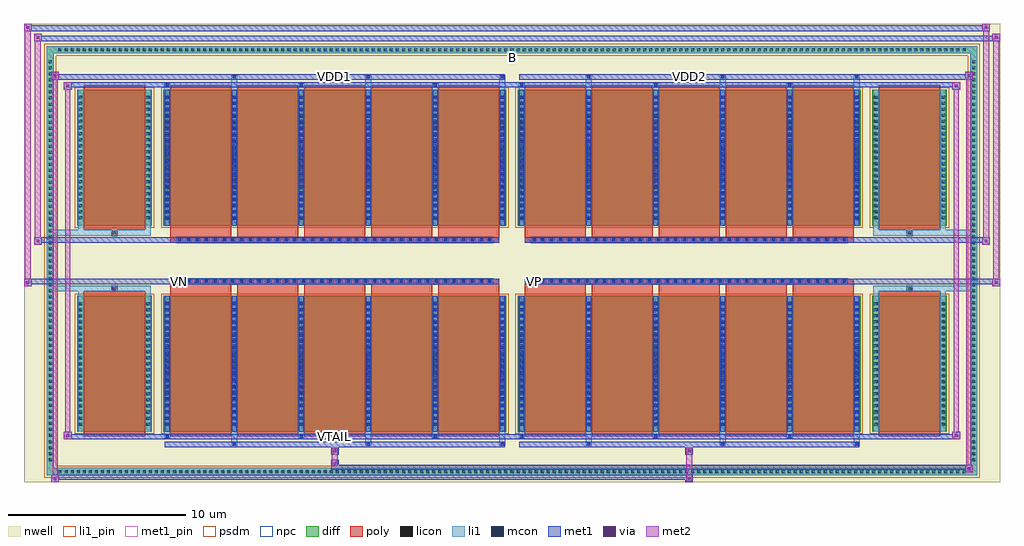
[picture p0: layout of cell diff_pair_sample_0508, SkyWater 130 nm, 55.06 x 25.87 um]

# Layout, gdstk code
import gdstk
lib = gdstk.Library(unit=1e-6, precision=5e-09)
def R(c, l, rs):  # rectangles x0, y0, x1, y1
    for r in rs: c.add(gdstk.rectangle(r[:2], r[2:], *l))
def A(c, l, x, y, w, h, nx, ny, dx, dy):  # array of equal rectangles
    R(c, l, [(x+i*dx, y+j*dy, x+i*dx+w, y+j*dy+h) for i in range(nx) for j in range(ny)])
def P(c, l, *ps):  # polygons
    for p in ps: c.add(gdstk.Polygon(p, *l))
nwell = (64, 20)
diff = (65, 20)
poly = (66, 20)
licon = (66, 44)
li1_pin = (67, 16)
li1 = (67, 20)
mcon = (67, 44)
met1_pin = (68, 16)
met1 = (68, 20)
via = (68, 44)
met2 = (69, 20)
psdm = (94, 20)
npc = (95, 20)

diff_pair_sample_0508 = lib.new_cell('diff_pair_sample_0508')
R(diff_pair_sample_0508, nwell, [(-27.53,-12.5,27.53,13.37), (-24.85,-10.69,-0.01,-0.805), (0.01,-10.69,24.85,-0.805), (-24.85,0.805,-0.01,10.69), (0.01,0.805,24.85,10.69)])
A(diff_pair_sample_0508, diff, -25.705, -12.1, 0.41, 0.41, 151, 2, 0.34, 23.79)
A(diff_pair_sample_0508, diff, -26.26, -11.425, 0.41, 0.41, 1, 67, 0, 0.34)
A(diff_pair_sample_0508, diff, 25.85, -11.425, 0.41, 0.41, 1, 67, 0, 0.34)
R(diff_pair_sample_0508, diff, [(-25.705,-12.1,25.705,-11.69), (-26.26,-11.425,-25.85,11.425), (25.85,-11.425,26.26,11.425), (-24.54,-9.645,-20.31,-1.985), (-19.67,-9.645,-0.32,-1.985), (0.32,-9.645,19.67,-1.985), (20.31,-9.645,24.54,-1.985), (-24.54,1.985,-20.31,9.645), (-19.67,1.985,-0.32,9.645), (0.32,1.985,19.67,9.645), (20.31,1.985,24.54,9.645), (-25.705,11.69,25.705,12.1)])
P(diff_pair_sample_0508, diff, [(26.26,12.1),(-26.26,12.1),(-26.26,-11.69),(-25.85,-11.69),(-25.85,11.69),(25.85,11.69),(25.85,-11.69),(-25.85,-11.69),(-26.26,-11.69),(-26.26,-12.1),(26.26,-12.1)])
A(diff_pair_sample_0508, poly, -19.28, -9.895, 3.45, 8.16, 5, 2, 3.78, 11.63)
A(diff_pair_sample_0508, poly, 0.71, -9.895, 3.45, 8.16, 5, 2, 3.78, 11.63)
A(diff_pair_sample_0508, poly, -19.28, -1.735, 3.45, 0.4, 5, 2, 3.78, 3.07)
A(diff_pair_sample_0508, poly, 0.71, -1.735, 3.45, 0.4, 5, 2, 3.78, 3.07)
A(diff_pair_sample_0508, poly, -18.91, -1.335, 0.33, 0.33, 36, 2, 0.5, 2.34)
A(diff_pair_sample_0508, poly, 1.08, -1.335, 0.33, 0.33, 36, 2, 0.5, 2.34)
R(diff_pair_sample_0508, poly, [(-24.15,-9.895,-20.7,-1.735), (20.7,-9.895,24.15,-1.735), (-22.59,-1.735,-22.26,-1.405), (-22.59,-1.735,-22.26,-1.405), (22.26,-1.735,22.59,-1.405), (22.26,-1.735,22.59,-1.405), (-19.28,-1.335,-0.71,-1.005), (0.71,-1.335,19.28,-1.005), (-19.28,1.005,-0.71,1.335), (0.71,1.005,19.28,1.335), (-22.59,1.405,-22.26,1.735), (-22.59,1.405,-22.26,1.735), (22.26,1.405,22.59,1.735), (22.26,1.405,22.59,1.735), (-24.15,1.735,-20.7,9.895), (20.7,1.735,24.15,9.895)])
A(diff_pair_sample_0508, licon, -25.585, -11.98, 0.17, 0.17, 151, 2, 0.34, 23.79)
A(diff_pair_sample_0508, licon, -26.14, -11.305, 0.17, 0.17, 1, 67, 0, 0.34)
A(diff_pair_sample_0508, licon, 25.97, -11.305, 0.17, 0.17, 1, 67, 0, 0.34)
A(diff_pair_sample_0508, licon, -24.4, -9.3, 0.17, 0.17, 1, 21, 0, 0.34)
A(diff_pair_sample_0508, licon, -20.62, -9.3, 0.17, 0.17, 1, 21, 0, 0.34)
A(diff_pair_sample_0508, licon, -19.53, -9.3, 0.17, 0.17, 6, 21, 3.78, 0.34)
A(diff_pair_sample_0508, licon, 0.46, -9.3, 0.17, 0.17, 6, 21, 3.78, 0.34)
A(diff_pair_sample_0508, licon, 20.45, -9.3, 0.17, 0.17, 1, 21, 0, 0.34)
A(diff_pair_sample_0508, licon, 24.23, -9.3, 0.17, 0.17, 1, 21, 0, 0.34)
A(diff_pair_sample_0508, licon, -18.83, -1.255, 0.17, 0.17, 36, 2, 0.5, 2.34)
A(diff_pair_sample_0508, licon, 1.16, -1.255, 0.17, 0.17, 36, 2, 0.5, 2.34)
A(diff_pair_sample_0508, licon, -24.4, 2.33, 0.17, 0.17, 1, 21, 0, 0.34)
A(diff_pair_sample_0508, licon, -20.62, 2.33, 0.17, 0.17, 1, 21, 0, 0.34)
A(diff_pair_sample_0508, licon, -19.53, 2.33, 0.17, 0.17, 6, 21, 3.78, 0.34)
A(diff_pair_sample_0508, licon, 0.46, 2.33, 0.17, 0.17, 6, 21, 3.78, 0.34)
A(diff_pair_sample_0508, licon, 20.45, 2.33, 0.17, 0.17, 1, 21, 0, 0.34)
A(diff_pair_sample_0508, licon, 24.23, 2.33, 0.17, 0.17, 1, 21, 0, 0.34)
R(diff_pair_sample_0508, licon, [(-22.51,-1.655,-22.34,-1.485), (22.34,-1.655,22.51,-1.485), (-22.51,1.485,-22.34,1.655), (22.34,1.485,22.51,1.655)])
R(diff_pair_sample_0508, li1_pin, [(-0.25,11.19,0.25,11.69)])
A(diff_pair_sample_0508, li1, -25.665, -12.06, 0.33, 0.33, 151, 2, 0.34, 23.79)
A(diff_pair_sample_0508, li1, -26.22, -11.385, 0.33, 0.33, 1, 67, 0, 0.34)
A(diff_pair_sample_0508, li1, 25.89, -11.385, 0.33, 0.33, 1, 67, 0, 0.34)
A(diff_pair_sample_0508, li1, -15.83, -10.45, 0.33, 0.805, 3, 2, 7.56, 20.095)
A(diff_pair_sample_0508, li1, -15.75, -10.45, 0.17, 0.17, 3, 2, 7.56, 20.73)
A(diff_pair_sample_0508, li1, 4.16, -10.45, 0.33, 0.805, 3, 2, 7.56, 20.095)
A(diff_pair_sample_0508, li1, 4.24, -10.45, 0.17, 0.17, 3, 2, 7.56, 20.73)
A(diff_pair_sample_0508, li1, -19.61, -10.02, 0.33, 0.375, 3, 2, 7.56, 19.665)
A(diff_pair_sample_0508, li1, -19.53, -10.02, 0.17, 0.17, 3, 2, 7.56, 19.87)
A(diff_pair_sample_0508, li1, 0.38, -10.02, 0.33, 0.375, 3, 2, 7.56, 19.665)
A(diff_pair_sample_0508, li1, 0.46, -10.02, 0.17, 0.17, 3, 2, 7.56, 19.87)
A(diff_pair_sample_0508, li1, -19.61, -9.645, 0.33, 7.66, 6, 2, 3.78, 11.63)
A(diff_pair_sample_0508, li1, 0.38, -9.645, 0.33, 7.66, 6, 2, 3.78, 11.63)
A(diff_pair_sample_0508, li1, -24.48, -9.38, 0.33, 0.33, 1, 21, 0, 0.34)
A(diff_pair_sample_0508, li1, -20.7, -9.38, 0.33, 0.33, 1, 21, 0, 0.34)
A(diff_pair_sample_0508, li1, -19.61, -9.38, 0.33, 0.33, 6, 21, 3.78, 0.34)
A(diff_pair_sample_0508, li1, 0.38, -9.38, 0.33, 0.33, 6, 21, 3.78, 0.34)
A(diff_pair_sample_0508, li1, 20.37, -9.38, 0.33, 0.33, 1, 21, 0, 0.34)
A(diff_pair_sample_0508, li1, 24.15, -9.38, 0.33, 0.33, 1, 21, 0, 0.34)
A(diff_pair_sample_0508, li1, -19.53, -9.32, 0.17, 0.17, 6, 20, 3.78, 0.36)
A(diff_pair_sample_0508, li1, -19.53, -9.32, 0.17, 7.01, 6, 2, 3.78, 11.63)
A(diff_pair_sample_0508, li1, 0.46, -9.32, 0.17, 0.17, 6, 20, 3.78, 0.36)
A(diff_pair_sample_0508, li1, 0.46, -9.32, 0.17, 7.01, 6, 2, 3.78, 11.63)
A(diff_pair_sample_0508, li1, -18.91, -1.335, 0.33, 0.33, 36, 2, 0.5, 2.34)
A(diff_pair_sample_0508, li1, 1.08, -1.335, 0.33, 0.33, 36, 2, 0.5, 2.34)
A(diff_pair_sample_0508, li1, -24.48, 2.25, 0.33, 0.33, 1, 21, 0, 0.34)
A(diff_pair_sample_0508, li1, -20.7, 2.25, 0.33, 0.33, 1, 21, 0, 0.34)
A(diff_pair_sample_0508, li1, -19.61, 2.25, 0.33, 0.33, 6, 21, 3.78, 0.34)
A(diff_pair_sample_0508, li1, 0.38, 2.25, 0.33, 0.33, 6, 21, 3.78, 0.34)
A(diff_pair_sample_0508, li1, 20.37, 2.25, 0.33, 0.33, 1, 21, 0, 0.34)
A(diff_pair_sample_0508, li1, 24.15, 2.25, 0.33, 0.33, 1, 21, 0, 0.34)
A(diff_pair_sample_0508, li1, -19.53, 2.31, 0.17, 0.17, 6, 20, 3.78, 0.36)
A(diff_pair_sample_0508, li1, 0.46, 2.31, 0.17, 0.17, 6, 20, 3.78, 0.36)
R(diff_pair_sample_0508, li1, [(-26.26,-12.1,-25.85,-11.69), (-26.26,-12.1,-25.85,-11.69), (-25.85,-12.1,25.85,-11.69), (25.85,-12.1,26.26,-11.69), (25.85,-12.1,26.26,-11.69), (-26.26,-11.69,-25.85,11.69), (25.85,-11.69,26.26,11.69), (-24.48,-9.645,-24.15,-1.985), (-20.7,-9.645,-20.37,-1.985), (20.37,-9.645,20.7,-1.985), (24.15,-9.645,24.48,-1.985), (-24.48,-1.985,-24.15,-1.405), (-20.7,-1.985,-20.37,-1.405), (20.37,-1.985,20.7,-1.405), (24.15,-1.985,24.48,-1.405), (-26.26,-1.735,-22.59,-1.405), (-24.48,-1.735,-22.59,-1.405), (-22.59,-1.735,-22.26,-1.405), (-22.26,-1.735,-20.37,-1.405), (20.37,-1.735,22.26,-1.405), (22.26,-1.735,22.59,-1.405), (22.26,-1.735,26.26,-1.405), (22.59,-1.735,24.48,-1.405), (-26.26,1.405,-22.59,1.735), (-24.48,1.405,-22.59,1.735), (-24.48,1.405,-24.15,1.985), (-22.59,1.405,-22.26,1.735), (-22.26,1.405,-20.37,1.735), (-20.7,1.405,-20.37,1.985), (20.37,1.405,22.26,1.735), (20.37,1.405,20.7,1.985), (22.26,1.405,22.59,1.735), (22.26,1.405,26.26,1.735), (22.59,1.405,24.48,1.735), (24.15,1.405,24.48,1.985), (-24.48,1.985,-24.15,9.645), (-20.7,1.985,-20.37,9.645), (20.37,1.985,20.7,9.645), (24.15,1.985,24.48,9.645), (-26.26,11.69,-25.85,12.1), (-26.26,11.69,-25.85,12.1), (-25.85,11.69,25.85,12.1), (25.85,11.69,26.26,12.1), (25.85,11.69,26.26,12.1)])
A(diff_pair_sample_0508, mcon, -15.75, -10.45, 0.17, 0.17, 3, 2, 7.56, 20.73)
A(diff_pair_sample_0508, mcon, 4.24, -10.45, 0.17, 0.17, 3, 2, 7.56, 20.73)
A(diff_pair_sample_0508, mcon, -19.53, -10.02, 0.17, 0.17, 3, 2, 7.56, 19.87)
A(diff_pair_sample_0508, mcon, 0.46, -10.02, 0.17, 0.17, 3, 2, 7.56, 19.87)
A(diff_pair_sample_0508, mcon, -19.53, -9.32, 0.17, 0.17, 6, 20, 3.78, 0.36)
A(diff_pair_sample_0508, mcon, 0.46, -9.32, 0.17, 0.17, 6, 20, 3.78, 0.36)
A(diff_pair_sample_0508, mcon, -18.83, -1.255, 0.17, 0.17, 36, 2, 0.5, 2.34)
A(diff_pair_sample_0508, mcon, 1.16, -1.255, 0.17, 0.17, 36, 2, 0.5, 2.34)
A(diff_pair_sample_0508, mcon, -19.53, 2.31, 0.17, 0.17, 6, 20, 3.78, 0.36)
A(diff_pair_sample_0508, mcon, 0.46, 2.31, 0.17, 0.17, 6, 20, 3.78, 0.36)
R(diff_pair_sample_0508, met1_pin, [(-10.13,-10.06,-9.86,-9.79), (-18.88,-1.295,-18.61,-1.025), (1.11,-1.295,1.38,-1.025), (-10.13,10.24,-9.86,10.51), (9.86,10.24,10.13,10.51)])
A(diff_pair_sample_0508, met1, -15.81, -10.51, 0.29, 0.29, 3, 2, 7.56, 20.73)
A(diff_pair_sample_0508, met1, 4.18, -10.51, 0.29, 0.29, 3, 2, 7.56, 20.73)
A(diff_pair_sample_0508, met1, -19.59, -10.08, 0.29, 0.29, 3, 2, 7.56, 19.87)
A(diff_pair_sample_0508, met1, 0.4, -10.08, 0.29, 0.29, 3, 2, 7.56, 19.87)
A(diff_pair_sample_0508, met1, -19.59, -9.645, 0.29, 7.66, 6, 2, 3.78, 11.63)
A(diff_pair_sample_0508, met1, 0.4, -9.645, 0.29, 7.66, 6, 2, 3.78, 11.63)
A(diff_pair_sample_0508, met1, -19.59, -9.38, 0.29, 0.29, 6, 20, 3.78, 0.36)
A(diff_pair_sample_0508, met1, 0.4, -9.38, 0.29, 0.29, 6, 20, 3.78, 0.36)
A(diff_pair_sample_0508, met1, -18.89, -1.315, 0.29, 0.29, 36, 2, 0.5, 2.34)
A(diff_pair_sample_0508, met1, 1.1, -1.315, 0.29, 0.29, 36, 2, 0.5, 2.34)
A(diff_pair_sample_0508, met1, -19.59, 2.25, 0.29, 0.29, 6, 20, 3.78, 0.36)
A(diff_pair_sample_0508, met1, 0.4, 2.25, 0.29, 0.29, 6, 20, 3.78, 0.36)
R(diff_pair_sample_0508, met1, [(-25.99,-12.5,-25.56,-12.07), (9.78,-12.5,10.21,-12.07), (-25.99,-12.36,10.21,-12.07), (25.56,-11.93,25.99,-11.5), (-10.21,-11.79,25.99,-11.5), (-10.21,-11.65,-9.78,-11.22), (-10.21,-10.94,-9.78,-10.51), (9.78,-10.94,10.21,-10.51), (-19.59,-10.51,-0.4,-10.22), (0.4,-10.51,19.59,-10.22), (-25.28,-10.08,-24.85,-9.65), (-25.28,-10.08,-19.59,-9.79), (-19.59,-10.08,-0.4,-9.79), (-0.4,-10.08,0.4,-9.79), (0.4,-10.08,19.59,-9.79), (19.59,-10.08,25.28,-9.79), (24.85,-10.08,25.28,-9.65), (-27.53,-1.435,-27.1,-1.005), (27.1,-1.435,27.53,-1.005), (-27.53,-1.335,-0.71,-1.005), (-19.28,-1.335,-0.71,-1.005), (0.71,-1.335,19.28,-1.005), (0.71,-1.335,27.53,-1.005), (-26.96,0.905,-26.53,1.335), (26.53,0.905,26.96,1.335), (-26.96,1.005,-19.28,1.335), (-19.28,1.005,-0.71,1.335), (0.71,1.005,19.28,1.335), (19.28,1.005,26.96,1.335), (-25.28,9.65,-24.85,10.08), (24.85,9.65,25.28,10.08), (-25.28,9.79,-19.59,10.08), (-19.59,9.79,-0.4,10.08), (-0.4,9.79,0.4,10.08), (0.4,9.79,19.59,10.08), (19.59,9.79,25.28,10.08), (-25.99,10.22,-25.56,10.65), (-25.99,10.22,-19.59,10.51), (-19.59,10.22,-0.4,10.51), (0.4,10.22,19.59,10.51), (19.59,10.22,25.99,10.51), (25.56,10.22,25.99,10.65), (-26.96,12.37,-26.53,12.8), (-26.96,12.37,-24.85,12.7), (-24.85,12.37,24.85,12.7), (24.85,12.37,27.53,12.7), (27.1,12.37,27.53,12.8), (-27.53,12.94,-27.1,13.37), (-27.53,12.94,-24.85,13.27), (-24.85,12.94,24.85,13.27), (24.85,12.94,26.96,13.27), (26.53,12.94,26.96,13.37)])
R(diff_pair_sample_0508, via, [(-25.85,-12.36,-25.7,-12.21), (9.92,-12.36,10.07,-12.21), (25.7,-11.79,25.85,-11.64), (-10.07,-11.51,-9.92,-11.36), (-10.07,-10.8,-9.92,-10.65), (9.92,-10.8,10.07,-10.65), (-25.14,-9.94,-24.99,-9.79), (24.99,-9.94,25.14,-9.79), (-27.39,-1.295,-27.24,-1.145), (27.24,-1.295,27.39,-1.145), (-26.82,1.045,-26.67,1.195), (26.67,1.045,26.82,1.195), (-25.14,9.79,-24.99,9.94), (24.99,9.79,25.14,9.94), (-25.85,10.36,-25.7,10.51), (25.7,10.36,25.85,10.51), (-26.82,12.51,-26.67,12.66), (27.24,12.51,27.39,12.66), (-27.39,13.08,-27.24,13.23), (26.67,13.08,26.82,13.23)])
R(diff_pair_sample_0508, met2, [(-25.99,-12.5,-25.56,-12.07), (-25.92,-12.5,-25.63,10.65), (-25.63,-12.5,-25.56,-12.07), (-25.94,-12.45,-25.61,-12.12), (9.83,-12.45,10.16,-12.12), (9.83,-12.12,10.16,-10.89), (25.56,-11.93,25.99,-11.5), (25.63,-11.93,25.92,10.65), (25.92,-11.93,25.99,-11.5), (25.61,-11.88,25.94,-11.55), (-10.16,-11.6,-9.83,-11.27), (-10.16,-11.27,-9.83,-10.89), (-10.16,-10.89,-9.83,-10.56), (9.83,-10.89,10.16,-10.56), (-25.28,-10.08,-24.85,-9.65), (-25.21,-10.08,-24.92,10.08), (-24.92,-10.08,-24.85,-9.65), (24.85,-10.08,25.28,-9.65), (24.92,-10.08,25.21,10.08), (25.21,-10.08,25.28,-9.65), (-25.23,-10.03,-24.9,-9.7), (24.9,-10.03,25.23,-9.7), (-27.53,-1.435,-27.1,-1.005), (-27.48,-1.435,-27.15,13.37), (-27.15,-1.435,-27.1,-1.005), (27.1,-1.435,27.53,-1.005), (27.15,-1.435,27.48,12.8), (27.48,-1.435,27.53,-1.005), (-27.48,-1.385,-27.15,-1.055), (27.15,-1.385,27.48,-1.055), (-26.96,0.905,-26.53,1.335), (-26.91,0.905,-26.58,12.8), (-26.58,0.905,-26.53,1.335), (26.53,0.905,26.96,1.335), (26.58,0.905,26.91,13.37), (26.91,0.905,26.96,1.335), (-26.91,0.955,-26.58,1.285), (26.58,0.955,26.91,1.285), (-25.28,9.65,-24.85,10.08), (-24.92,9.65,-24.85,10.08), (24.85,9.65,25.28,10.08), (25.21,9.65,25.28,10.08), (-25.23,9.7,-24.9,10.03), (24.9,9.7,25.23,10.03), (-25.99,10.22,-25.56,10.65), (-25.63,10.22,-25.56,10.65), (25.56,10.22,25.99,10.65), (25.92,10.22,25.99,10.65), (-25.94,10.27,-25.61,10.6), (25.61,10.27,25.94,10.6), (-26.96,12.37,-26.53,12.8), (-26.58,12.37,-26.53,12.8), (27.1,12.37,27.53,12.8), (27.48,12.37,27.53,12.8), (-26.91,12.42,-26.58,12.75), (27.15,12.42,27.48,12.75), (-27.53,12.94,-27.1,13.37), (-27.15,12.94,-27.1,13.37), (26.53,12.94,26.96,13.37), (26.91,12.94,26.96,13.37), (-27.48,12.99,-27.15,13.32), (26.58,12.99,26.91,13.32)])
R(diff_pair_sample_0508, psdm, [(-24.67,-9.775,-20.18,-1.855), (-19.8,-9.775,-0.19,-1.855), (0.19,-9.775,19.8,-1.855), (20.18,-9.775,24.67,-1.855), (-24.67,1.855,-20.18,9.775), (-19.8,1.855,-0.19,9.775), (0.19,1.855,19.8,9.775), (20.18,1.855,24.67,9.775)])
P(diff_pair_sample_0508, psdm, [(26.39,12.23),(-26.39,12.23),(-26.39,-11.56),(-25.72,-11.56),(-25.72,11.56),(25.72,11.56),(25.72,-11.56),(-25.72,-11.56),(-26.39,-11.56),(-26.39,-12.23),(26.39,-12.23)])
A(diff_pair_sample_0508, npc, -18.93, -1.355, 0.37, 0.37, 36, 2, 0.5, 2.34)
A(diff_pair_sample_0508, npc, 1.06, -1.355, 0.37, 0.37, 36, 2, 0.5, 2.34)
R(diff_pair_sample_0508, npc, [(-22.61,-1.755,-22.24,-1.385), (22.24,-1.755,22.61,-1.385), (-18.93,-1.355,-18.06,-0.985), (-18.93,-1.355,-18.06,-0.985), (-18.43,-1.355,-17.56,-0.985), (-18.43,-1.355,-17.56,-0.985), (-17.93,-1.355,-17.06,-0.985), (-17.93,-1.355,-17.06,-0.985), (-17.43,-1.355,-16.56,-0.985), (-17.43,-1.355,-16.56,-0.985), (-16.93,-1.355,-16.06,-0.985), (-16.93,-1.355,-16.06,-0.985), (-16.43,-1.355,-15.56,-0.985), (-16.43,-1.355,-15.56,-0.985), (-15.93,-1.355,-15.06,-0.985), (-15.93,-1.355,-15.06,-0.985), (-15.43,-1.355,-14.56,-0.985), (-15.43,-1.355,-14.56,-0.985), (-14.93,-1.355,-14.06,-0.985), (-14.93,-1.355,-14.06,-0.985), (-14.43,-1.355,-13.56,-0.985), (-14.43,-1.355,-13.56,-0.985), (-13.93,-1.355,-13.06,-0.985), (-13.93,-1.355,-13.06,-0.985), (-13.43,-1.355,-12.56,-0.985), (-13.43,-1.355,-12.56,-0.985), (-12.93,-1.355,-12.06,-0.985), (-12.93,-1.355,-12.06,-0.985), (-12.43,-1.355,-11.56,-0.985), (-12.43,-1.355,-11.56,-0.985), (-11.93,-1.355,-11.06,-0.985), (-11.93,-1.355,-11.06,-0.985), (-11.43,-1.355,-10.56,-0.985), (-11.43,-1.355,-10.56,-0.985), (-10.93,-1.355,-10.06,-0.985), (-10.93,-1.355,-10.06,-0.985), (-10.43,-1.355,-9.56,-0.985), (-10.43,-1.355,-9.56,-0.985), (-9.93,-1.355,-9.06,-0.985), (-9.93,-1.355,-9.06,-0.985), (-9.43,-1.355,-8.56,-0.985), (-9.43,-1.355,-8.56,-0.985), (-8.93,-1.355,-8.06,-0.985), (-8.93,-1.355,-8.06,-0.985), (-8.43,-1.355,-7.56,-0.985), (-8.43,-1.355,-7.56,-0.985), (-7.93,-1.355,-7.06,-0.985), (-7.93,-1.355,-7.06,-0.985), (-7.43,-1.355,-6.56,-0.985), (-7.43,-1.355,-6.56,-0.985), (-6.93,-1.355,-6.06,-0.985), (-6.93,-1.355,-6.06,-0.985), (-6.43,-1.355,-5.56,-0.985), (-6.43,-1.355,-5.56,-0.985), (-5.93,-1.355,-5.06,-0.985), (-5.93,-1.355,-5.06,-0.985), (-5.43,-1.355,-4.56,-0.985), (-5.43,-1.355,-4.56,-0.985), (-4.93,-1.355,-4.06,-0.985), (-4.93,-1.355,-4.06,-0.985), (-4.43,-1.355,-3.56,-0.985), (-4.43,-1.355,-3.56,-0.985), (-3.93,-1.355,-3.06,-0.985), (-3.93,-1.355,-3.06,-0.985), (-3.43,-1.355,-2.56,-0.985), (-3.43,-1.355,-2.56,-0.985), (-2.93,-1.355,-2.06,-0.985), (-2.93,-1.355,-2.06,-0.985), (-2.43,-1.355,-1.56,-0.985), (-2.43,-1.355,-1.56,-0.985), (-1.93,-1.355,-1.06,-0.985), (-1.93,-1.355,-1.06,-0.985), (1.06,-1.355,1.93,-0.985), (1.06,-1.355,1.93,-0.985), (1.56,-1.355,2.43,-0.985), (1.56,-1.355,2.43,-0.985), (2.06,-1.355,2.93,-0.985), (2.06,-1.355,2.93,-0.985), (2.56,-1.355,3.43,-0.985), (2.56,-1.355,3.43,-0.985), (3.06,-1.355,3.93,-0.985), (3.06,-1.355,3.93,-0.985), (3.56,-1.355,4.43,-0.985), (3.56,-1.355,4.43,-0.985), (4.06,-1.355,4.93,-0.985), (4.06,-1.355,4.93,-0.985), (4.56,-1.355,5.43,-0.985), (4.56,-1.355,5.43,-0.985), (5.06,-1.355,5.93,-0.985), (5.06,-1.355,5.93,-0.985), (5.56,-1.355,6.43,-0.985), (5.56,-1.355,6.43,-0.985), (6.06,-1.355,6.93,-0.985), (6.06,-1.355,6.93,-0.985), (6.56,-1.355,7.43,-0.985), (6.56,-1.355,7.43,-0.985), (7.06,-1.355,7.93,-0.985), (7.06,-1.355,7.93,-0.985), (7.56,-1.355,8.43,-0.985), (7.56,-1.355,8.43,-0.985), (8.06,-1.355,8.93,-0.985), (8.06,-1.355,8.93,-0.985), (8.56,-1.355,9.43,-0.985), (8.56,-1.355,9.43,-0.985), (9.06,-1.355,9.93,-0.985), (9.06,-1.355,9.93,-0.985), (9.56,-1.355,10.43,-0.985), (9.56,-1.355,10.43,-0.985), (10.06,-1.355,10.93,-0.985), (10.06,-1.355,10.93,-0.985), (10.56,-1.355,11.43,-0.985), (10.56,-1.355,11.43,-0.985), (11.06,-1.355,11.93,-0.985), (11.06,-1.355,11.93,-0.985), (11.56,-1.355,12.43,-0.985), (11.56,-1.355,12.43,-0.985), (12.06,-1.355,12.93,-0.985), (12.06,-1.355,12.93,-0.985), (12.56,-1.355,13.43,-0.985), (12.56,-1.355,13.43,-0.985), (13.06,-1.355,13.93,-0.985), (13.06,-1.355,13.93,-0.985), (13.56,-1.355,14.43,-0.985), (13.56,-1.355,14.43,-0.985), (14.06,-1.355,14.93,-0.985), (14.06,-1.355,14.93,-0.985), (14.56,-1.355,15.43,-0.985), (14.56,-1.355,15.43,-0.985), (15.06,-1.355,15.93,-0.985), (15.06,-1.355,15.93,-0.985), (15.56,-1.355,16.43,-0.985), (15.56,-1.355,16.43,-0.985), (16.06,-1.355,16.93,-0.985), (16.06,-1.355,16.93,-0.985), (16.56,-1.355,17.43,-0.985), (16.56,-1.355,17.43,-0.985), (17.06,-1.355,17.93,-0.985), (17.06,-1.355,17.93,-0.985), (17.56,-1.355,18.43,-0.985), (17.56,-1.355,18.43,-0.985), (18.06,-1.355,18.93,-0.985), (18.06,-1.355,18.93,-0.985), (-18.93,0.985,-18.06,1.355), (-18.93,0.985,-18.06,1.355), (-18.43,0.985,-17.56,1.355), (-18.43,0.985,-17.56,1.355), (-17.93,0.985,-17.06,1.355), (-17.93,0.985,-17.06,1.355), (-17.43,0.985,-16.56,1.355), (-17.43,0.985,-16.56,1.355), (-16.93,0.985,-16.06,1.355), (-16.93,0.985,-16.06,1.355), (-16.43,0.985,-15.56,1.355), (-16.43,0.985,-15.56,1.355), (-15.93,0.985,-15.06,1.355), (-15.93,0.985,-15.06,1.355), (-15.43,0.985,-14.56,1.355), (-15.43,0.985,-14.56,1.355), (-14.93,0.985,-14.06,1.355), (-14.93,0.985,-14.06,1.355), (-14.43,0.985,-13.56,1.355), (-14.43,0.985,-13.56,1.355), (-13.93,0.985,-13.06,1.355), (-13.93,0.985,-13.06,1.355), (-13.43,0.985,-12.56,1.355), (-13.43,0.985,-12.56,1.355), (-12.93,0.985,-12.06,1.355), (-12.93,0.985,-12.06,1.355), (-12.43,0.985,-11.56,1.355), (-12.43,0.985,-11.56,1.355), (-11.93,0.985,-11.06,1.355), (-11.93,0.985,-11.06,1.355), (-11.43,0.985,-10.56,1.355), (-11.43,0.985,-10.56,1.355), (-10.93,0.985,-10.06,1.355), (-10.93,0.985,-10.06,1.355), (-10.43,0.985,-9.56,1.355), (-10.43,0.985,-9.56,1.355), (-9.93,0.985,-9.06,1.355), (-9.93,0.985,-9.06,1.355), (-9.43,0.985,-8.56,1.355), (-9.43,0.985,-8.56,1.355), (-8.93,0.985,-8.06,1.355), (-8.93,0.985,-8.06,1.355), (-8.43,0.985,-7.56,1.355), (-8.43,0.985,-7.56,1.355), (-7.93,0.985,-7.06,1.355), (-7.93,0.985,-7.06,1.355), (-7.43,0.985,-6.56,1.355), (-7.43,0.985,-6.56,1.355), (-6.93,0.985,-6.06,1.355), (-6.93,0.985,-6.06,1.355), (-6.43,0.985,-5.56,1.355), (-6.43,0.985,-5.56,1.355), (-5.93,0.985,-5.06,1.355), (-5.93,0.985,-5.06,1.355), (-5.43,0.985,-4.56,1.355), (-5.43,0.985,-4.56,1.355), (-4.93,0.985,-4.06,1.355), (-4.93,0.985,-4.06,1.355), (-4.43,0.985,-3.56,1.355), (-4.43,0.985,-3.56,1.355), (-3.93,0.985,-3.06,1.355), (-3.93,0.985,-3.06,1.355), (-3.43,0.985,-2.56,1.355), (-3.43,0.985,-2.56,1.355), (-2.93,0.985,-2.06,1.355), (-2.93,0.985,-2.06,1.355), (-2.43,0.985,-1.56,1.355), (-2.43,0.985,-1.56,1.355), (-1.93,0.985,-1.06,1.355), (-1.93,0.985,-1.06,1.355), (1.06,0.985,1.93,1.355), (1.06,0.985,1.93,1.355), (1.56,0.985,2.43,1.355), (1.56,0.985,2.43,1.355), (2.06,0.985,2.93,1.355), (2.06,0.985,2.93,1.355), (2.56,0.985,3.43,1.355), (2.56,0.985,3.43,1.355), (3.06,0.985,3.93,1.355), (3.06,0.985,3.93,1.355), (3.56,0.985,4.43,1.355), (3.56,0.985,4.43,1.355), (4.06,0.985,4.93,1.355), (4.06,0.985,4.93,1.355), (4.56,0.985,5.43,1.355), (4.56,0.985,5.43,1.355), (5.06,0.985,5.93,1.355), (5.06,0.985,5.93,1.355), (5.56,0.985,6.43,1.355), (5.56,0.985,6.43,1.355), (6.06,0.985,6.93,1.355), (6.06,0.985,6.93,1.355), (6.56,0.985,7.43,1.355), (6.56,0.985,7.43,1.355), (7.06,0.985,7.93,1.355), (7.06,0.985,7.93,1.355), (7.56,0.985,8.43,1.355), (7.56,0.985,8.43,1.355), (8.06,0.985,8.93,1.355), (8.06,0.985,8.93,1.355), (8.56,0.985,9.43,1.355), (8.56,0.985,9.43,1.355), (9.06,0.985,9.93,1.355), (9.06,0.985,9.93,1.355), (9.56,0.985,10.43,1.355), (9.56,0.985,10.43,1.355), (10.06,0.985,10.93,1.355), (10.06,0.985,10.93,1.355), (10.56,0.985,11.43,1.355), (10.56,0.985,11.43,1.355), (11.06,0.985,11.93,1.355), (11.06,0.985,11.93,1.355), (11.56,0.985,12.43,1.355), (11.56,0.985,12.43,1.355), (12.06,0.985,12.93,1.355), (12.06,0.985,12.93,1.355), (12.56,0.985,13.43,1.355), (12.56,0.985,13.43,1.355), (13.06,0.985,13.93,1.355), (13.06,0.985,13.93,1.355), (13.56,0.985,14.43,1.355), (13.56,0.985,14.43,1.355), (14.06,0.985,14.93,1.355), (14.06,0.985,14.93,1.355), (14.56,0.985,15.43,1.355), (14.56,0.985,15.43,1.355), (15.06,0.985,15.93,1.355), (15.06,0.985,15.93,1.355), (15.56,0.985,16.43,1.355), (15.56,0.985,16.43,1.355), (16.06,0.985,16.93,1.355), (16.06,0.985,16.93,1.355), (16.56,0.985,17.43,1.355), (16.56,0.985,17.43,1.355), (17.06,0.985,17.93,1.355), (17.06,0.985,17.93,1.355), (17.56,0.985,18.43,1.355), (17.56,0.985,18.43,1.355), (18.06,0.985,18.93,1.355), (18.06,0.985,18.93,1.355), (-22.61,1.385,-22.24,1.755), (22.24,1.385,22.61,1.755)])
diff_pair_sample_0508.add(gdstk.Label('VTAIL', (-9.995,-9.925), layer=68, texttype=5))
diff_pair_sample_0508.add(gdstk.Label('VN', (-18.745,-1.16), layer=68, texttype=5))
diff_pair_sample_0508.add(gdstk.Label('VP', (1.245,-1.16), layer=68, texttype=5))
diff_pair_sample_0508.add(gdstk.Label('B', (0,11.44), layer=67, texttype=5))
diff_pair_sample_0508.add(gdstk.Label('VDD2', (9.995,10.375), layer=68, texttype=5))
diff_pair_sample_0508.add(gdstk.Label('VDD1', (-9.995,10.375), layer=68, texttype=5))

lib.write_gds('diff_pair_sample_0508.gds')
